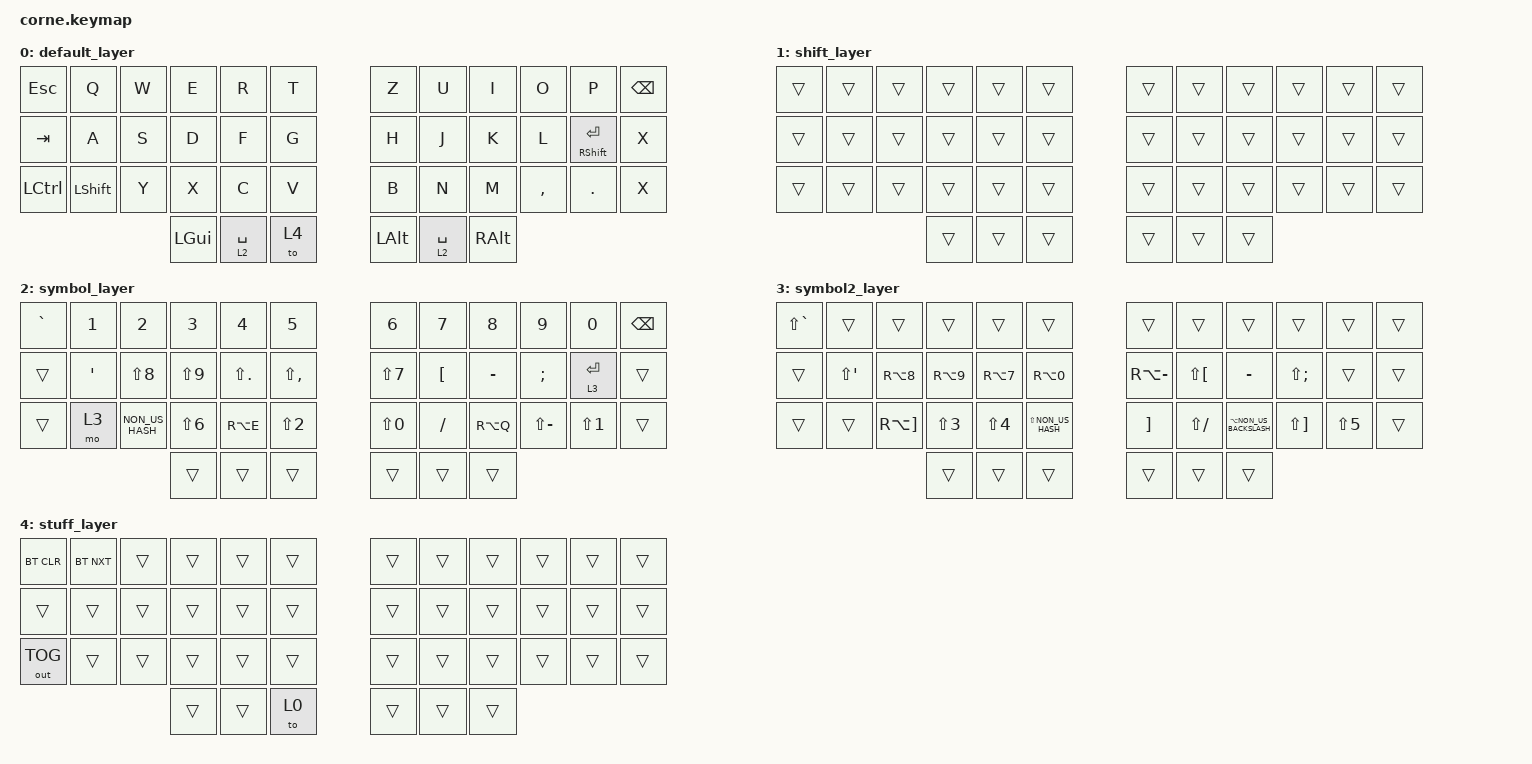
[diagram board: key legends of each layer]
/*
 * Copyright (c) 2020 The ZMK Contributorss
 *
 * SPDX-License-Identifier: MIT
 */

#include <behaviors.dtsi>
#include <dt-bindings/zmk/keys.h>
#include <dt-bindings/zmk/bt.h>
#include <dt-bindings/zmk/outputs.h>

/ {
        keymap {
                compatible = "zmk,keymap";

                default_layer {

                        bindings = <
   &kp ESC   &kp Q &kp W &kp E &kp R &kp T   &kp Z &kp U  &kp I    &kp O   &kp P    &kp BSPC
   &kp TAB &kp A &kp S &kp D &kp F &kp G   &kp H &kp J  &kp K     &kp L   &mt RSHFT ENTER &kp X
   &kp LCTRL &kp LSHFT &kp Y &kp X &kp C &kp V  &kp B &kp N  &kp M &kp COMMA &kp DOT &kp X
                           &kp LGUI  &lt 2 SPACE &to 4 &kp LALT  &lt 2 SPACE  &kp RALT
                        >;
                    };
                    
                shift_layer {

                        bindings = <
   &trans &trans &trans &trans &trans &trans  &trans &trans &trans &trans &trans &trans
   &trans &trans &trans &trans &trans &trans  &trans &trans &trans &trans &trans &trans
   &trans &trans &trans &trans &trans &trans  &trans &trans &trans &trans &trans &trans
                        &trans &trans &trans  &trans &trans &trans
                    >;   
                };
                                         
                symbol_layer {

                        bindings = <
  &kp  GRAVE  &kp N1 &kp N2 &kp N3 &kp N4 &kp N5   &kp N6 &kp N7  &kp N8 &kp N9 &kp N0 &kp BSPC
  &trans &kp SQT   &kp LS(N8) &kp LS(N9)   &kp LS(DOT) &kp LS(COMMA)   &kp LS(N7)  &kp LBKT  &kp MINUS  &kp SEMI  &lt 3 ENTER  &trans
  &trans &mo 3   &kp NON_US_HASH &kp LS(N6)   &kp RA(E)   &kp LS(N2)   &kp LS(N0) &kp FSLH  &kp RA(Q) &kp LS(MINUS) &kp LS(N1) &trans
                    	     &trans &trans   &trans   &trans   &trans    &trans
                        >;
                };
                
                symbol2_layer {

                        bindings = <
   &kp LS(GRAVE) &trans &trans &trans &trans &trans  &trans &trans &trans &trans &trans &trans
   &trans &kp LS(SQT) &kp RA(N8) &kp RA(N9) &kp RA(N7)  &kp RA(N0)  &kp RA(MINUS) &kp LS(LBKT) &kp MINUS &kp LS(SEMI) &trans &trans
   &trans &trans &kp RA(RBKT) &kp LS(N3) &kp LS(N4) &kp LS(NON_US_HASH)  &kp RBKT &kp LS(FSLH) &kp LA(NON_US_BACKSLASH) &kp LS(RBKT) &kp LS(N5)  &trans
                        &trans &trans &trans  &trans &trans &trans
                    >;   
                };
          
               stuff_layer {

                        bindings = <
   &bt BT_CLR &bt BT_NXT &trans &trans &trans &trans  &trans &trans &trans &trans &trans &trans
   &trans &trans &trans &trans &trans &trans  &trans &trans &trans &trans &trans &trans
   &out OUT_TOG &trans &trans &trans &trans &trans  &trans &trans &trans &trans &trans &trans
                        &trans &trans &to 0  &trans &trans &trans
                    >;   
                    
                };
        };
};
